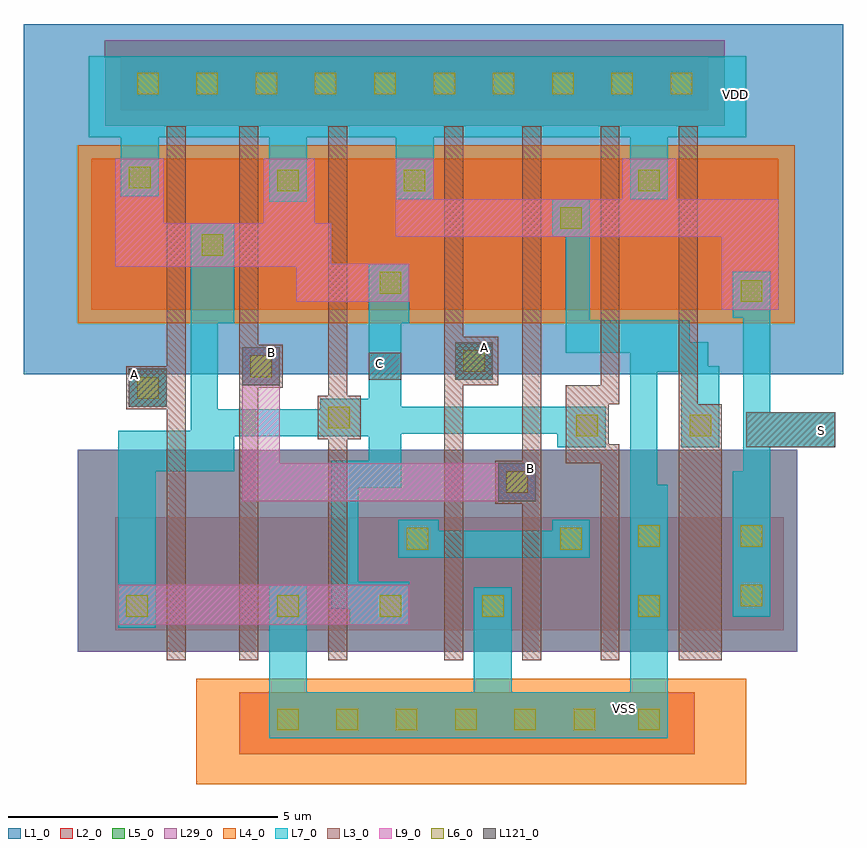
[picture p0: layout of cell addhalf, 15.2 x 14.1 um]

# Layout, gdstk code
import gdstk
lib = gdstk.Library(unit=1e-6, precision=1e-09)
def R(c, l, rs):  # rectangles x0, y0, x1, y1
    for r in rs: c.add(gdstk.rectangle(r[:2], r[2:], *l))
def A(c, l, x, y, w, h, nx, ny, dx, dy):  # array of equal rectangles
    R(c, l, [(x+i*dx, y+j*dy, x+i*dx+w, y+j*dy+h) for i in range(nx) for j in range(ny)])
def P(c, l, *ps):  # polygons
    for p in ps: c.add(gdstk.Polygon(p, *l))
L1_0 = (1, 0)
L2_0 = (2, 0)
L3_0 = (3, 0)
L4_0 = (4, 0)
L5_0 = (5, 0)
L6_0 = (6, 0)
L7_0 = (7, 0)
L9_0 = (9, 0)
L29_0 = (29, 0)
L121_0 = (121, 0)

addhalf = lib.new_cell('addhalf')
R(addhalf, L1_0, [(11.3,7.8,26.5,14.3)])
R(addhalf, L2_0, [(15.3,0.75,23.75,1.9), (13,3.05,25.4,5.15), (12.55,9,25.3,11.8), (13.1,12.7,24,13.7)])
P(addhalf, L3_0, [(15.65,12.4),(15.3,12.4),(15.3,2.5),(15.65,2.5),(15.65,7.55),(16.1,7.55),(16.1,8.35),(15.65,8.35)],
  [(14.3,12.4),(13.95,12.4),(13.95,7.95),(13.2,7.95),(13.2,7.15),(13.95,7.15),(13.95,2.5),(14.3,2.5)],
  [(17.55,7.4),(17.3,7.4),(17.3,12.4),(16.95,12.4),(16.95,7.4),(16.75,7.4),(16.75,6.6),(16.95,6.6),(16.95,2.5),(17.3,2.5),(17.3,6.6),(17.55,6.6)],
  [(20.9,12.4),(20.55,12.4),(20.55,6.2),(20.05,6.2),(20.05,5.4),(20.55,5.4),(20.55,2.5),(20.9,2.5)],
  [(20.1,8.5),(19.45,8.5),(19.45,12.4),(19.1,12.4),(19.1,2.5),(19.45,2.5),(19.45,7.6),(20.1,7.6)],
  [(24.25,7.25),(23.8,7.25),(23.8,12.4),(23.45,12.4),(23.45,2.5),(24.25,2.5)],
  [(22.35,6.5),(22.15,6.5),(22.15,7.25),(22.35,7.25),(22.35,12.4),(22,12.4),(22,7.6),(21.35,7.6),(21.35,6.15),(22,6.15),(22,2.5),(22.35,2.5)])
R(addhalf, L4_0, [(14.5,0.2,24.7,2.15), (12.3,8.75,25.6,12.05)])
R(addhalf, L5_0, [(12.3,2.65,25.65,6.4), (12.8,12.4,24.3,14)])
A(addhalf, L6_0, 16, 1.2, 0.4, 0.4, 6, 1, 1.1, 0)
A(addhalf, L6_0, 16, 3.3, 0.4, 0.4, 3, 1, 1.9, 0)
A(addhalf, L6_0, 13.4, 13, 0.4, 0.4, 10, 1, 1.1, 0)
R(addhalf, L6_0, [(22.7,1.2,23.1,1.6), (13.2,3.3,13.6,3.7), (22.7,3.3,23.1,3.7), (24.6,3.5,25,3.9), (18.4,4.55,18.8,4.95), (21.25,4.55,21.65,4.95), (22.7,4.6,23.1,5), (24.6,4.6,25,5), (20.25,5.6,20.65,6), (21.55,6.65,21.95,7.05), (23.65,6.65,24.05,7.05), (16.95,6.8,17.35,7.2), (13.4,7.35,13.8,7.75), (15.5,7.75,15.9,8.15), (19.45,7.85,19.85,8.25), (24.6,9.15,25,9.55), (17.9,9.3,18.3,9.7), (14.6,10,15,10.4), (21.25,10.5,21.65,10.9), (16,11.2,16.4,11.6), (18.35,11.2,18.75,11.6), (22.7,11.2,23.1,11.6), (13.25,11.25,13.65,11.65)])
R(addhalf, L7_0, [(20.1,5.45,20.8,6.15), (24.7,6.45,26.35,7.1), (13.25,7.2,13.95,7.9), (15.35,7.6,16.05,8.3), (19.3,7.7,20,8.4)])
P(addhalf, L7_0, [(25.15,9.7),(24.45,9.7),(24.45,8.85),(24.65,8.85),(24.65,6),(24.45,6),(24.45,3.3),(25.15,3.3)],
  [(24.2,7.95),(24,7.95),(24,8.4),(23.65,8.4),(23.65,8.8),(21.8,8.8),(21.8,11.05),(21.1,11.05),(21.1,10.35),(21.35,10.35),(21.35,8.2),(22.55,8.2),(22.55,1.9),(20.35,1.9),(20.35,3.85),(19.65,3.85),(19.65,1.9),(16.55,1.9),(16.55,3.9),(15.85,3.9),(15.85,1.05),(23.25,1.05),(23.25,5.75),(23.05,5.75),(23.05,7.85),(23.5,7.85),(23.5,6.45),(24.2,6.45)],
  [(21.8,5.1),(21.1,5.1),(21.1,4.9),(19,4.9),(19,5.1),(18.25,5.1),(18.25,4.4),(21.8,4.4)],
  [(22.1,7.2),(17.7,7.2),(17.7,7.35),(16.8,7.35),(16.8,7.15),(14.9,7.15),(14.9,8.75),(15.2,8.75),(15.2,10.6),(14.4,10.6),(14.4,6.75),(13.05,6.75),(13.05,3.1),(13.75,3.1),(13.75,6),(15.2,6),(15.2,6.65),(17.7,6.65),(17.7,6.7),(21.2,6.7),(21.2,6.45),(22.1,6.45)],
  [(24.7,13.7),(12.5,13.7),(12.5,12.2),(13.1,12.2),(13.1,11.1),(13.8,11.1),(13.8,12.2),(15.85,12.2),(15.85,11),(16.55,11),(16.55,12.2),(18.2,12.2),(18.2,11.05),(18.9,11.05),(18.9,12.2),(22.55,12.2),(22.55,11.05),(23.25,11.05),(23.25,12.2),(24.7,12.2)],
  [(17.7,9.85),(18.45,9.85),(18.45,8.75),(18.3,8.75),(18.3,5.7),(17.5,5.7),(17.5,3.95),(18.45,3.95),(18.45,3.15),(17.35,3.15),(17.35,3.45),(17,3.45),(17,6.2),(17.7,6.2)])
R(addhalf, L9_0, [(13.05,3.15,18.45,3.9)])
P(addhalf, L9_0, [(25.3,11.05),(23.4,11.05),(23.4,11.8),(22.4,11.8),(22.4,11.05),(18.9,11.05),(18.9,11.8),(18.2,11.8),(18.2,10.35),(24.25,10.35),(24.25,9),(25.3,9)],
  [(15.35,8.3),(16.05,8.3),(16.05,6.15),(20.8,6.15),(20.8,5.45),(15.35,5.45)],
  [(18.45,9.85),(17,9.85),(17,10.6),(16.7,10.6),(16.7,11.8),(15.75,11.8),(15.75,10.6),(13.9,10.6),(13.9,11.8),(13,11.8),(13,9.8),(16.35,9.8),(16.35,9.15),(18.45,9.15)])
R(addhalf, L29_0, [(12.3,2.65,25.65,6.4), (12.8,12.4,24.3,14)])
R(addhalf, L121_0, [(20.1,5.45,20.8,6.15), (24.7,6.45,26.35,7.1), (13.25,7.2,13.95,7.9), (15.35,7.6,16.05,8.3), (17.7,7.7,18.3,8.2), (19.3,7.7,20,8.4)])
addhalf.add(gdstk.Label('S', (26.1,6.75), layer=121, texttype=0))
addhalf.add(gdstk.Label('A', (13.35,7.8), layer=121, texttype=0))
addhalf.add(gdstk.Label('B', (15.9,8.2), layer=121, texttype=0))
addhalf.add(gdstk.Label('C', (17.9,8), layer=121, texttype=0))
addhalf.add(gdstk.Label('A', (19.85,8.3), layer=121, texttype=0))
addhalf.add(gdstk.Label('B', (20.7,6.05), layer=121, texttype=0))
addhalf.add(gdstk.Label('VDD', (24.5,13), layer=7, texttype=0))
addhalf.add(gdstk.Label('VSS', (22.45,1.6), layer=7, texttype=0))

lib.write_gds('addhalf.gds')
